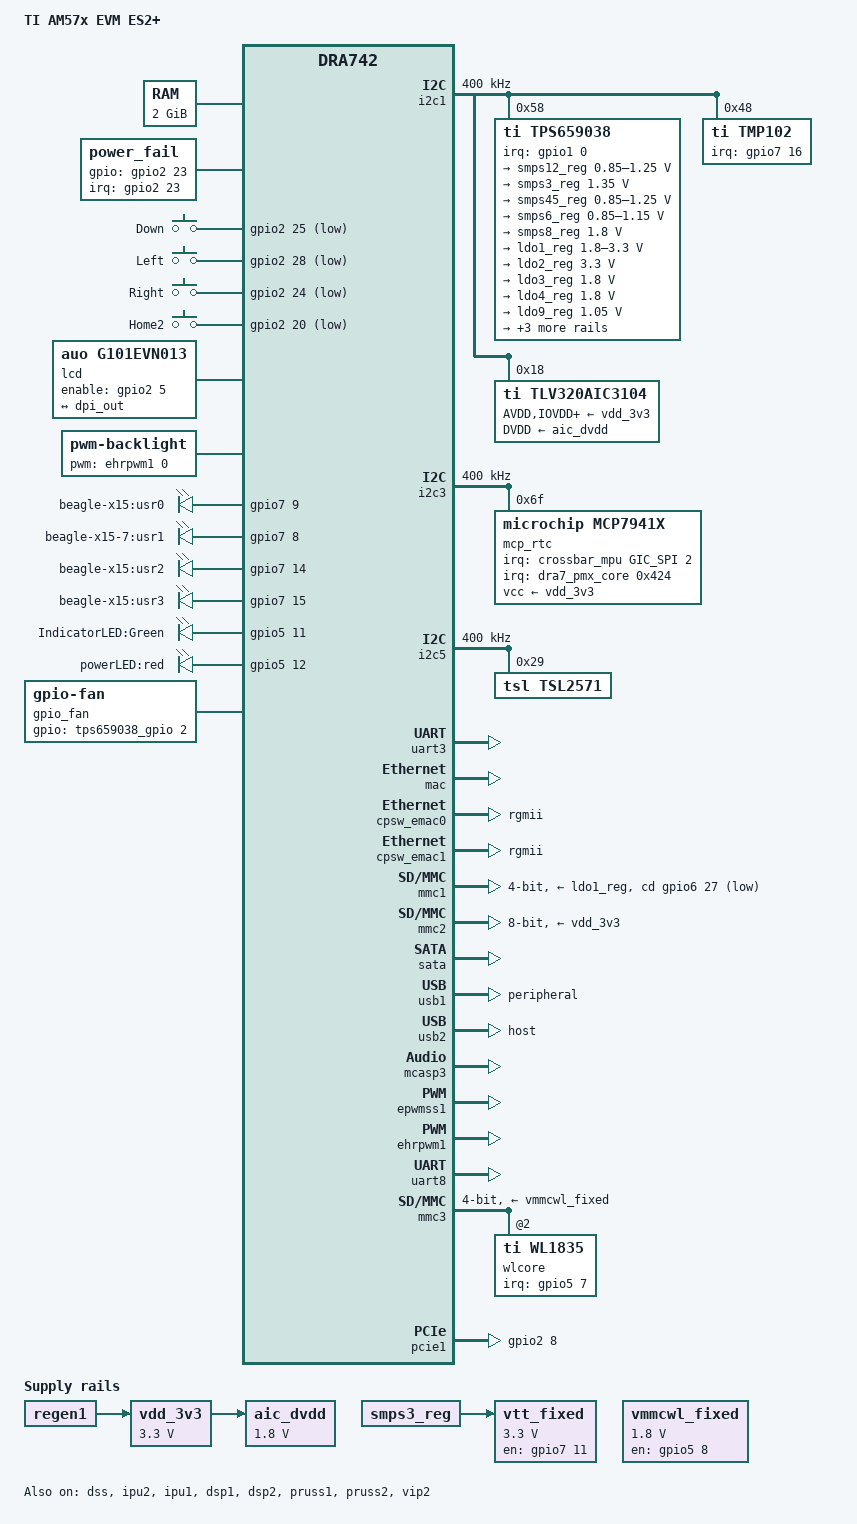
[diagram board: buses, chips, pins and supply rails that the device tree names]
/*
 * Copyright (C) 2015-2016 Texas Instruments Incorporated - http://www.ti.com/
 *
 * This program is free software; you can redistribute it and/or modify
 * it under the terms of the GNU General Public License version 2 as
 * published by the Free Software Foundation.
 */
/dts-v1/;

#include "dra74x.dtsi"
#include <dt-bindings/gpio/gpio.h>
#include <dt-bindings/input/input.h>
#include <dt-bindings/interrupt-controller/irq.h>


/ {
    model = "TI AM57x EVM ES2+";
    compatible = "ti,am572x-beagle-x15", "ti,am5728", "ti,dra742", "ti,dra74", "ti,dra7";

    aliases {
        rtc0 = &mcp_rtc;
        rtc1 = &tps659038_rtc;
        rtc2 = &rtc;
        display0 = &lcd0;

        sound0 = &sound0;
    };

    memory {
        device_type = "memory";
        reg = <0x0 0x80000000 0x0 0x80000000>;
    };


    reserved-memory {
        #address-cells = <2>;
        #size-cells = <2>;
        ranges;

        ipu2_cma_pool: ipu2_cma@95800000 {
            compatible = "shared-dma-pool";
            reg = <0x0 0x95800000 0x0 0x3800000>;
            reusable;
            status = "okay";
        };

        dsp1_cma_pool: dsp1_cma@99000000 {
            compatible = "shared-dma-pool";
            reg = <0x0 0x99000000 0x0 0x4000000>;
            reusable;
            status = "okay";
        };

        ipu1_cma_pool: ipu1_cma@9d000000 {
            compatible = "shared-dma-pool";
            reg = <0x0 0x9d000000 0x0 0x2000000>;
            reusable;
            status = "okay";
        };

        dsp2_cma_pool: dsp2_cma@9f000000 {
            compatible = "shared-dma-pool";
            reg = <0x0 0x9f000000 0x0 0x800000>;
            reusable;
            status = "okay";
        };
    };


	power_fail {
        	compatible = "power_fail";
		label = "power_fail";
		interrupt-parent = <&gpio2>;
		interrupts = <23 IRQ_TYPE_EDGE_FALLING>;
		gpios = <&gpio2 23 GPIO_ACTIVE_HIGH>;
	};


    gpio_keys {
        compatible = "gpio-keys";
        #address-cells = <1>;
        #size-cells = <0>;
        autorepeat;

//        USER1 {
//            label = "Up";
//            linux,code = <KEY_UP>;
//            gpios = <&gpio2 23 GPIO_ACTIVE_LOW>;
//        };

        USER2 {
            label = "Down";
            linux,code = <KEY_DOWN>;
            gpios = <&gpio2 25 GPIO_ACTIVE_LOW>;
        };

        USER3 {
            label = "Left";
            linux,code = <KEY_LEFT>;
            gpios = <&gpio2 28 GPIO_ACTIVE_LOW>;
        };

        USER4 {
            label = "Right";
            linux,code = <KEY_RIGHT>;
            gpios = <&gpio2 24 GPIO_ACTIVE_LOW>;
        };

        USER5 {
            label = "Home2";
            linux,code = <KEY_HOME>;
            gpios = <&gpio2 20 GPIO_ACTIVE_LOW>;
        };
    };

/*
#define IRQ_TYPE_NONE		0
#define IRQ_TYPE_EDGE_RISING	1
#define IRQ_TYPE_EDGE_FALLING	2
#define IRQ_TYPE_EDGE_BOTH	(IRQ_TYPE_EDGE_FALLING | IRQ_TYPE_EDGE_RISING)
#define IRQ_TYPE_LEVEL_HIGH	4
#define IRQ_TYPE_LEVEL_LOW	8

// Bit 0 express polarity 
#define GPIO_ACTIVE_HIGH 0
#define GPIO_ACTIVE_LOW 1
// Bit 1 express single-endedness 
#define GPIO_PUSH_PULL 0
#define GPIO_SINGLE_ENDED 2

*/


    lcd0: display {
        compatible = "auo, g101evn013", "panel-dpi";

        label = "lcd";

        enable-gpios = <&gpio2 5 GPIO_ACTIVE_HIGH>;

        panel-timing {
            clock-frequency = <85000000>;
            hactive = <1280>;
            vactive = <800>;
            hfront-porch = <110>;
            hback-porch = <113>;
            hsync-len = <10>;
            vback-porch = <400>;
            vfront-porch = <367>;
            vsync-len = <25>;
            hsync-active = <0>;
            vsync-active = <0>;
            de-active = <1>;
            pixelclk-active = <1>;
        };

        port {
            lcd_in: endpoint {
                remote-endpoint = <&dpi_out>;
            };
        };
    };



    backlight {
        compatible = "pwm-backlight";
        pwms = <&ehrpwm1 0 50000 0>;

        /* Anything lower than 241 is no longer visible */
        /* brightness-levels = <0 243 245 247 249 251 252 253 255>; */
        // brightness-levels = <0 10 20 30 40 50 60 70 80 90 100 110 120 130 140 150 160 170 180 190 200 210 220 230 240 250 251 252 253 254 255>;
        // default-brightness-level = <18>;
        brightness-levels = < 0 1 2 3 4 5 6 7 8 9 10 11 12 13 14 15 16 17 18 19 20 21 22 23 24 25 26 27 28 29 30 31 32 33 34 35 36 37 38 39 
                                     40 41 42 43 44 45 46 47 48 49 50 51 52 53 54 55 56 57 58 59 60 61 62 63 64 65 66 67 68 69 70 71 72 73 74 75 76 
                                     77 78 79 80 81 82 83 84 85 86 87 88 89 90 91 92 93 94 95 96 97 98 99 100 101 102 103 104 105 106 107 108 109 110
                                     111 112 113 114 115 116 117 118 119 120 121 122 123 124 125 126 127 128 129 130 131 132 133 134 135 136 137 138 
                                     139 140 141 142 143 144 145 146 147 148 149 150 151 152 153 154 155 156 157 158 159 160 161 162 163 164 165 166
                                     167 168 169 170 171 172 173 174 175 176 177 178 179 180 181 182 183 184 185 186 187 188 189 190 191 192 193 194 
                                     195 196 197 198 199 200 201 202 203 204 205 206 207 208 209 210 211 212 213 214 215 216 217 218 219 220 221 222
                                     223 224 225 226 227 228 229 230 231 232 233 234 235 236 237 238 239 240 241 242 243 244 245 246 247 248 249 250 
                                     251 252 253 254 255>;
        default-brightness-level = <253>;

    };

    vmmcwl_fixed: fixedregulator-mmcwl {
        compatible = "regulator-fixed";
        regulator-name = "vmmcwl_fixed";
        regulator-min-microvolt = <1800000>;
        regulator-max-microvolt = <1800000>;
        gpio = <&gpio5 8 GPIO_ACTIVE_HIGH>;
        enable-active-high;
    };

    vdd_3v3: fixedregulator-vdd_3v3 {
        compatible = "regulator-fixed";
        regulator-name = "vdd_3v3";
        vin-supply = <&regen1>;
        regulator-min-microvolt = <3300000>;
        regulator-max-microvolt = <3300000>;
    };

    aic_dvdd: fixedregulator-aic_dvdd {
        compatible = "regulator-fixed";
        regulator-name = "aic_dvdd_fixed";
        vin-supply = <&vdd_3v3>;
        regulator-min-microvolt = <1800000>;
        regulator-max-microvolt = <1800000>;
    };

    vtt_fixed: fixedregulator-vtt {
        /* TPS51200 */
        compatible = "regulator-fixed";
        regulator-name = "vtt_fixed";
        vin-supply = <&smps3_reg>;
        regulator-min-microvolt = <3300000>;
        regulator-max-microvolt = <3300000>;
        regulator-always-on;
        regulator-boot-on;
        enable-active-high;
        gpio = <&gpio7 11 GPIO_ACTIVE_HIGH>;
    };

//Documentation/devicetree/bindings/leds/leds-gpio.txt
    leds {
        compatible = "gpio-leds";
        led@0 {
            label = "beagle-x15:usr0";
            gpios = <&gpio7 9 GPIO_ACTIVE_HIGH>;
            linux,default-trigger = "heartbeat";
            default-state = "off";
        };

        led@1 {
            label = "beagle-x15-7:usr1";
            gpios = <&gpio7 8 GPIO_ACTIVE_HIGH>;
            linux,default-trigger = "cpu0";
            default-state = "off";
        };

        led@2 {
            label = "beagle-x15:usr2";
            gpios = <&gpio7 14 GPIO_ACTIVE_HIGH>;
            linux,default-trigger = "mmc0";
            default-state = "off";
        };

        led@3 {
            label = "beagle-x15:usr3";
            gpios = <&gpio7 15 GPIO_ACTIVE_HIGH>;
            linux,default-trigger = "ide-disk";
            default-state = "off";
        };

        led@4 {
            label = "IndicatorLED:Green";
            gpios = <&gpio5 11 GPIO_ACTIVE_HIGH>;
            linux,default-trigger = "heartbeat";
            default-state = "off";
        };

        led@5 {
            label = "powerLED:red";
            gpios = <&gpio5 12 GPIO_ACTIVE_HIGH>;
            default-state = "off";
        };
    };



    gpio_fan: gpio_fan {
        /* Based on 5v 500mA AFB02505HHB */
        compatible = "gpio-fan";
        gpios =  <&tps659038_gpio 2 GPIO_ACTIVE_HIGH>;
        gpio-fan,speed-map = <0     0>,
                     <13000 1>;
        #cooling-cells = <2>;
    };


    sound0: sound@0 {
        compatible = "simple-audio-card";
        simple-audio-card,name = "BeagleBoard-X15";
        simple-audio-card,widgets =
            "Line", "Line Out",
            "Line", "Line In";
        simple-audio-card,routing =
            "Line Out", "LLOUT",
            "Line Out", "RLOUT",
            "MIC2L",    "Line In",
            "MIC2R",    "Line In";
        simple-audio-card,format = "dsp_b";
        simple-audio-card,bitclock-master = <&sound0_master>;
        simple-audio-card,frame-master = <&sound0_master>;
        simple-audio-card,bitclock-inversion;

        simple-audio-card,cpu {
            sound-dai = <&mcasp3>;
        };

        sound0_master: simple-audio-card,codec {
            sound-dai = <&tlv320aic3104>;
            clocks = <&clkout2_clk>;
        };
    };
};

&dra7_pmx_core {
    gpioint_pins_default: gpioint_pins_default {
        pinctrl-single,pins = <
            0x3474 (PIN_INPUT | MUX_MODE14)    /* ggpio2_3 */
        >;
    };
    leds_pins_default: leds_pins_default {
        pinctrl-single,pins = <
            0x3a8 (PIN_OUTPUT | MUX_MODE14) /* spi1_d1.gpio7_8 */
            0x3ac (PIN_OUTPUT | MUX_MODE14) /* spi1_d0.gpio7_9 */
            0x3c0 (PIN_OUTPUT | MUX_MODE14) /* spi2_sclk.gpio7_14 */
            0x3c4 (PIN_OUTPUT | MUX_MODE14) /* spi2_d1.gpio7_15 */
        >;
    };

    i2c1_pins_default: i2c1_pins_default {
        pinctrl-single,pins = <
            0x400 (PIN_INPUT_PULLUP | MUX_MODE0)    /* i2c1_sda.sda */
            0x404 (PIN_INPUT_PULLUP | MUX_MODE0)    /* i2c1_scl.scl */
        >;
    };

    hdmi_pins: pinmux_hdmi_pins {
        pinctrl-single,pins = <
            0x408 (PIN_INPUT | MUX_MODE1)   /* i2c2_sda.hdmi1_ddc_scl */
            0x40c (PIN_INPUT | MUX_MODE1)   /* i2c2_scl.hdmi1_ddc_sda */
        >;
    };

    i2c3_pins_default: i2c3_pins_default {
        pinctrl-single,pins = <
            0x2a4 (PIN_INPUT| MUX_MODE10)   /* mcasp1_aclkx.i2c3_sda */
            0x2a8 (PIN_INPUT| MUX_MODE10)   /* mcasp1_fsx.i2c3_scl */
        >;
    };

//    i2c5_pins_default: i2c5_pins_default {
//        pinctrl-single,pins = <
//            0x2b4 (PIN_INPUT| MUX_MODE10)   /* mcasp1_axr0.i2c5_sda */
//            0x2b8 (PIN_INPUT| MUX_MODE10)   /* mcasp1_axr1.i2c5_scl */
//        >;
//    };

    uart3_pins_default: uart3_pins_default {
        pinctrl-single,pins = <
            0x3f8 (PIN_INPUT_SLEW | MUX_MODE2) /* uart2_ctsn.uart3_rxd */
            0x3fc (PIN_INPUT_SLEW | MUX_MODE1) /* uart2_rtsn.uart3_txd */
        >;
    };
    mmc1_pins_default: mmc1_pins_default {
        pinctrl-single,pins = <
            DRA7XX_CORE_IOPAD(0x3754, (PIN_INPUT_PULLUP | MUX_MODE0)) /* mmc1_clk.clk */
            DRA7XX_CORE_IOPAD(0x3758, (PIN_INPUT_PULLUP | MUX_MODE0)) /* mmc1_cmd.cmd */
            DRA7XX_CORE_IOPAD(0x375c, (PIN_INPUT_PULLUP | MUX_MODE0)) /* mmc1_dat0.dat0 */
            DRA7XX_CORE_IOPAD(0x3760, (PIN_INPUT_PULLUP | MUX_MODE0)) /* mmc1_dat1.dat1 */
            DRA7XX_CORE_IOPAD(0x3764, (PIN_INPUT_PULLUP | MUX_MODE0)) /* mmc1_dat2.dat2 */
            DRA7XX_CORE_IOPAD(0x3768, (PIN_INPUT_PULLUP | MUX_MODE0)) /* mmc1_dat3.dat3 */
        >;
    };

    mmc1_pins_hs: pinmux_mmc1_hs_pins {
        pinctrl-single,pins = <
            DRA7XX_CORE_IOPAD(0x3754, (PIN_INPUT_PULLUP | MUX_VIRTUAL_MODE11 | MUX_MODE0)) /* mmc1_clk.clk */
            DRA7XX_CORE_IOPAD(0x3758, (PIN_INPUT_PULLUP | MUX_VIRTUAL_MODE11 | MUX_MODE0)) /* mmc1_cmd.cmd */
            DRA7XX_CORE_IOPAD(0x375c, (PIN_INPUT_PULLUP | MUX_VIRTUAL_MODE11 | MUX_MODE0)) /* mmc1_dat0.dat0 */
            DRA7XX_CORE_IOPAD(0x3760, (PIN_INPUT_PULLUP | MUX_VIRTUAL_MODE11 | MUX_MODE0)) /* mmc1_dat1.dat1 */
            DRA7XX_CORE_IOPAD(0x3764, (PIN_INPUT_PULLUP | MUX_VIRTUAL_MODE11 | MUX_MODE0)) /* mmc1_dat2.dat2 */
            DRA7XX_CORE_IOPAD(0x3768, (PIN_INPUT_PULLUP | MUX_VIRTUAL_MODE11 | MUX_MODE0)) /* mmc1_dat3.dat3 */
        >;
    };

    mmc2_pins_default: mmc2_pins_default {
        pinctrl-single,pins = <
            DRA7XX_CORE_IOPAD(0x349c, (PIN_INPUT_PULLUP | MUX_MODE1)) /* gpmc_a23.mmc2_clk */
            DRA7XX_CORE_IOPAD(0x34b0, (PIN_INPUT_PULLUP | MUX_MODE1)) /* gpmc_cs1.mmc2_cmd */
            DRA7XX_CORE_IOPAD(0x34a0, (PIN_INPUT_PULLUP | MUX_MODE1)) /* gpmc_a24.mmc2_dat0 */
            DRA7XX_CORE_IOPAD(0x34a4, (PIN_INPUT_PULLUP | MUX_MODE1)) /* gpmc_a25.mmc2_dat1 */
            DRA7XX_CORE_IOPAD(0x34a8, (PIN_INPUT_PULLUP | MUX_MODE1)) /* gpmc_a26.mmc2_dat2 */
            DRA7XX_CORE_IOPAD(0x34ac, (PIN_INPUT_PULLUP | MUX_MODE1)) /* gpmc_a27.mmc2_dat3 */
            DRA7XX_CORE_IOPAD(0x348c, (PIN_INPUT_PULLUP | MUX_MODE1)) /* gpmc_a19.mmc2_dat4 */
            DRA7XX_CORE_IOPAD(0x3490, (PIN_INPUT_PULLUP | MUX_MODE1)) /* gpmc_a20.mmc2_dat5 */
            DRA7XX_CORE_IOPAD(0x3494, (PIN_INPUT_PULLUP | MUX_MODE1)) /* gpmc_a21.mmc2_dat6 */
            DRA7XX_CORE_IOPAD(0x3498, (PIN_INPUT_PULLUP | MUX_MODE1)) /* gpmc_a22.mmc2_dat7 */
        >;
    };

    mmc2_pins_hs: mmc2_pins_hs {
        pinctrl-single,pins = <
            DRA7XX_CORE_IOPAD(0x349c, (PIN_INPUT_PULLUP | MUX_MODE1)) /* gpmc_a23.mmc2_clk */
            DRA7XX_CORE_IOPAD(0x34b0, (PIN_INPUT_PULLUP | MUX_MODE1)) /* gpmc_cs1.mmc2_cmd */
            DRA7XX_CORE_IOPAD(0x34a0, (PIN_INPUT_PULLUP | MUX_MODE1)) /* gpmc_a24.mmc2_dat0 */
            DRA7XX_CORE_IOPAD(0x34a4, (PIN_INPUT_PULLUP | MUX_MODE1)) /* gpmc_a25.mmc2_dat1 */
            DRA7XX_CORE_IOPAD(0x34a8, (PIN_INPUT_PULLUP | MUX_MODE1)) /* gpmc_a26.mmc2_dat2 */
            DRA7XX_CORE_IOPAD(0x34ac, (PIN_INPUT_PULLUP | MUX_MODE1)) /* gpmc_a27.mmc2_dat3 */
            DRA7XX_CORE_IOPAD(0x348c, (PIN_INPUT_PULLUP | MUX_MODE1)) /* gpmc_a19.mmc2_dat4 */
            DRA7XX_CORE_IOPAD(0x3490, (PIN_INPUT_PULLUP | MUX_MODE1)) /* gpmc_a20.mmc2_dat5 */
            DRA7XX_CORE_IOPAD(0x3494, (PIN_INPUT_PULLUP | MUX_MODE1)) /* gpmc_a21.mmc2_dat6 */
            DRA7XX_CORE_IOPAD(0x3498, (PIN_INPUT_PULLUP | MUX_MODE1)) /* gpmc_a22.mmc2_dat7 */
        >;
    };

    mmc2_pins_ddr_3_3v: pinmux_mmc2_ddr_3_3v_pins {
        pinctrl-single,pins = <
            DRA7XX_CORE_IOPAD(0x349c, (PIN_INPUT_PULLUP | MANUAL_MODE | MUX_MODE1)) /* gpmc_a23.mmc2_clk */
            DRA7XX_CORE_IOPAD(0x34b0, (PIN_INPUT_PULLUP | MANUAL_MODE | MUX_MODE1)) /* gpmc_cs1.mmc2_cmd */
            DRA7XX_CORE_IOPAD(0x34a0, (PIN_INPUT_PULLUP | MANUAL_MODE | MUX_MODE1)) /* gpmc_a24.mmc2_dat0 */
            DRA7XX_CORE_IOPAD(0x34a4, (PIN_INPUT_PULLUP | MANUAL_MODE | MUX_MODE1)) /* gpmc_a25.mmc2_dat1 */
            DRA7XX_CORE_IOPAD(0x34a8, (PIN_INPUT_PULLUP | MANUAL_MODE | MUX_MODE1)) /* gpmc_a26.mmc2_dat2 */
            DRA7XX_CORE_IOPAD(0x34ac, (PIN_INPUT_PULLUP | MANUAL_MODE | MUX_MODE1)) /* gpmc_a27.mmc2_dat3 */
            DRA7XX_CORE_IOPAD(0x348c, (PIN_INPUT_PULLUP | MANUAL_MODE | MUX_MODE1)) /* gpmc_a19.mmc2_dat4 */
            DRA7XX_CORE_IOPAD(0x3490, (PIN_INPUT_PULLUP | MANUAL_MODE | MUX_MODE1)) /* gpmc_a20.mmc2_dat5 */
            DRA7XX_CORE_IOPAD(0x3494, (PIN_INPUT_PULLUP | MANUAL_MODE | MUX_MODE1)) /* gpmc_a21.mmc2_dat6 */
            DRA7XX_CORE_IOPAD(0x3498, (PIN_INPUT_PULLUP | MANUAL_MODE | MUX_MODE1)) /* gpmc_a22.mmc2_dat7 */
        >;
    };
};

&dra7_iodelay_core {
    mmc2_iodelay_ddr_3_3v_conf: mmc2_iodelay_ddr_3_3v_conf {
        pinctrl-single,pins = <
            0x18c (A_DELAY(0) | G_DELAY(120))   /* CFG_GPMC_A19_IN */
            0x190 (A_DELAY(0) | G_DELAY(0))     /* CFG_GPMC_A19_OEN */
            0x194 (A_DELAY(174) | G_DELAY(0))   /* CFG_GPMC_A19_OUT */
            0x1a4 (A_DELAY(265) | G_DELAY(360)) /* CFG_GPMC_A20_IN */
            0x1a8 (A_DELAY(0) | G_DELAY(0))     /* CFG_GPMC_A20_OEN */
            0x1ac (A_DELAY(168) | G_DELAY(0))   /* CFG_GPMC_A20_OUT */
            0x1b0 (A_DELAY(0) | G_DELAY(120))   /* CFG_GPMC_A21_IN */
            0x1b4 (A_DELAY(0) | G_DELAY(0))     /* CFG_GPMC_A21_OEN */
            0x1b8 (A_DELAY(136) | G_DELAY(0))   /* CFG_GPMC_A21_OUT */
            0x1bc (A_DELAY(0) | G_DELAY(120))   /* CFG_GPMC_A22_IN */
            0x1c0 (A_DELAY(0) | G_DELAY(0))     /* CFG_GPMC_A22_OEN */
            0x1c4 (A_DELAY(0) | G_DELAY(0))     /* CFG_GPMC_A22_OUT */
            0x1c8 (A_DELAY(287) | G_DELAY(420)) /* CFG_GPMC_A23_IN */
            0x1d0 (A_DELAY(879) | G_DELAY(0))   /* CFG_GPMC_A23_OUT */
            0x1d4 (A_DELAY(144) | G_DELAY(240)) /* CFG_GPMC_A24_IN */
            0x1d8 (A_DELAY(0) | G_DELAY(0))     /* CFG_GPMC_A24_OEN */
            0x1dc (A_DELAY(0) | G_DELAY(0))     /* CFG_GPMC_A24_OUT */
            0x1e0 (A_DELAY(0) | G_DELAY(0))     /* CFG_GPMC_A25_IN */
            0x1e4 (A_DELAY(0) | G_DELAY(0))     /* CFG_GPMC_A25_OEN */
            0x1e8 (A_DELAY(34) | G_DELAY(0))    /* CFG_GPMC_A25_OUT */
            0x1ec (A_DELAY(0) | G_DELAY(120))   /* CFG_GPMC_A26_IN */
            0x1f0 (A_DELAY(0) | G_DELAY(0))     /* CFG_GPMC_A26_OEN */
            0x1f4 (A_DELAY(120) | G_DELAY(0))   /* CFG_GPMC_A26_OUT */
            0x1f8 (A_DELAY(120) | G_DELAY(180)) /* CFG_GPMC_A27_IN */
            0x1fc (A_DELAY(0) | G_DELAY(0))     /* CFG_GPMC_A27_OEN */
            0x200 (A_DELAY(0) | G_DELAY(0))     /* CFG_GPMC_A27_OUT */
            0x360 (A_DELAY(0) | G_DELAY(0))     /* CFG_GPMC_CS1_IN */
            0x364 (A_DELAY(0) | G_DELAY(0))     /* CFG_GPMC_CS1_OEN */
            0x368 (A_DELAY(11) | G_DELAY(0))    /* CFG_GPMC_CS1_OUT */
        >;
    };
};

&i2c1 {
    status = "okay";
    clock-frequency = <400000>;

    tps659038: tps659038@58 {
        compatible = "ti,tps659038";
        reg = <0x58>;
        interrupt-parent = <&gpio1>;
        interrupts = <0 IRQ_TYPE_LEVEL_LOW>;

        #interrupt-cells = <2>;
        interrupt-controller;

        ti,system-power-controller;

        tps659038_pmic {
            compatible = "ti,tps659038-pmic";

            regulators {
                smps12_reg: smps12 {
                    /* VDD_MPU */
                    regulator-name = "smps12";
                    regulator-min-microvolt = < 850000>;
                    regulator-max-microvolt = <1250000>;
                    regulator-always-on;
                    regulator-boot-on;
                };

                smps3_reg: smps3 {
                    /* VDD_DDR */
                    regulator-name = "smps3";
                    regulator-min-microvolt = <1350000>;
                    regulator-max-microvolt = <1350000>;
                    regulator-always-on;
                    regulator-boot-on;
                };

                smps45_reg: smps45 {
                    /* VDD_DSPEVE, VDD_IVA, VDD_GPU */
                    regulator-name = "smps45";
                    regulator-min-microvolt = < 850000>;
                    regulator-max-microvolt = <1250000>;
                    regulator-always-on;
                    regulator-boot-on;
                };

                smps6_reg: smps6 {
                    /* VDD_CORE */
                    regulator-name = "smps6";
                    regulator-min-microvolt = <850000>;
                    regulator-max-microvolt = <1150000>;
                    regulator-always-on;
                    regulator-boot-on;
                };

                /* SMPS7 unused */

                smps8_reg: smps8 {
                    /* VDD_1V8 */
                    regulator-name = "smps8";
                    regulator-min-microvolt = <1800000>;
                    regulator-max-microvolt = <1800000>;
                    regulator-always-on;
                    regulator-boot-on;
                };

                /* SMPS9 unused */

                ldo1_reg: ldo1 {
                    /* VDD_SD / VDDSHV8  */
                    regulator-name = "ldo1";
                    regulator-min-microvolt = <1800000>;
                    regulator-max-microvolt = <3300000>;
                    regulator-boot-on;
                    regulator-always-on;
                };

                ldo2_reg: ldo2 {
                    /* VDD_SHV5 */
                    regulator-name = "ldo2";
                    regulator-min-microvolt = <3300000>;
                    regulator-max-microvolt = <3300000>;
                    regulator-always-on;
                    regulator-boot-on;
                };

                ldo3_reg: ldo3 {
                    /* VDDA_1V8_PHYA */
                    regulator-name = "ldo3";
                    regulator-min-microvolt = <1800000>;
                    regulator-max-microvolt = <1800000>;
                    regulator-always-on;
                    regulator-boot-on;
                };

                ldo4_reg: ldo4 {
                    /* VDDA_1V8_PHYB */
                    regulator-name = "ldo4";
                    regulator-min-microvolt = <1800000>;
                    regulator-max-microvolt = <1800000>;
                    regulator-always-on;
                    regulator-boot-on;
                };

                ldo9_reg: ldo9 {
                    /* VDD_RTC */
                    regulator-name = "ldo9";
                    regulator-min-microvolt = <1050000>;
                    regulator-max-microvolt = <1050000>;
                    regulator-always-on;
                    regulator-boot-on;
                };

                ldoln_reg: ldoln {
                    /* VDDA_1V8_PLL */
                    regulator-name = "ldoln";
                    regulator-min-microvolt = <1800000>;
                    regulator-max-microvolt = <1800000>;
                    regulator-always-on;
                    regulator-boot-on;
                };

                ldousb_reg: ldousb {
                    /* VDDA_3V_USB: VDDA_USBHS33 */
                    regulator-name = "ldousb";
                    regulator-min-microvolt = <3300000>;
                    regulator-max-microvolt = <3300000>;
                    regulator-boot-on;
                };

                regen1: regen1 {
                    /* VDD_3V3_ON */
                    regulator-name = "regen1";
                    regulator-boot-on;
                    regulator-always-on;
                };
            };
        };

        tps659038_rtc: tps659038_rtc {
            compatible = "ti,palmas-rtc";
            interrupt-parent = <&tps659038>;
            interrupts = <8 IRQ_TYPE_EDGE_FALLING>;
            wakeup-source;
        };

        tps659038_pwr_button: tps659038_pwr_button {
            compatible = "ti,palmas-pwrbutton";
            interrupt-parent = <&tps659038>;
            interrupts = <1 IRQ_TYPE_EDGE_FALLING>;
            wakeup-source;
            ti,palmas-long-press-seconds = <12>;
        };

        tps659038_gpio: tps659038_gpio {
            compatible = "ti,palmas-gpio";
            gpio-controller;
            #gpio-cells = <2>;
        };

        extcon_usb2: tps659038_usb {
            compatible = "ti,palmas-usb-vid";
            ti,enable-vbus-detection;
            vbus-gpio = <&gpio4 21 GPIO_ACTIVE_HIGH>;
        };

    };

    tmp102: tmp102@48 {
        compatible = "ti,tmp102";
        reg = <0x48>;
        interrupt-parent = <&gpio7>;
        interrupts = <16 IRQ_TYPE_LEVEL_LOW>;
        #thermal-sensor-cells = <1>;
    };

    tlv320aic3104: tlv320aic3104@18 {
        #sound-dai-cells = <0>;
        compatible = "ti,tlv320aic3104";
        reg = <0x18>;

        assigned-clocks = <&clkoutmux2_clk_mux>;
        assigned-clock-parents = <&sys_clk2_dclk_div>;

        adc-settle-ms = <40>;
        AVDD-supply = <&vdd_3v3>;
        IOVDD-supply = <&vdd_3v3>;
        DRVDD-supply = <&vdd_3v3>;
        DVDD-supply = <&aic_dvdd>;

        status = "okay";
    };
};


&i2c3 {
    status = "okay";
    clock-frequency = <400000>;

    mcp_rtc: rtc@6f {
        compatible = "microchip,mcp7941x";
        reg = <0x6f>;
        interrupts-extended = <&crossbar_mpu GIC_SPI 2 IRQ_TYPE_EDGE_RISING>,
                      <&dra7_pmx_core 0x424>;
        interrupt-names = "irq", "wakeup";

        vcc-supply = <&vdd_3v3>;
        wakeup-source;
    };
};

&i2c5 {
    status = "okay";
    clock-frequency = <400000>;    
    tsl2571@29 {
        compatible = "tsl,tsl2571";
        reg = <0x29>;
    };
};




&gpio7 {
    ti,no-reset-on-init;
    ti,no-idle-on-init;
};

&uart3 {
    status = "okay";
    interrupts-extended = <&crossbar_mpu GIC_SPI 69 IRQ_TYPE_LEVEL_HIGH>,
                  <&dra7_pmx_core 0x3f8>;
};

&mac {
    status = "okay";
    dual_emac;
};

&cpsw_emac0 {
    phy_id = <&davinci_mdio>, <3>;
    phy-mode = "rgmii";
    dual_emac_res_vlan = <1>;
};

&cpsw_emac1 {
    phy_id = <&davinci_mdio>, <2>;
    phy-mode = "rgmii";
    dual_emac_res_vlan = <2>;
};

&mmc1 {
    status = "okay";

    vmmc-supply = <&ldo1_reg>;
    bus-width = <4>;
    cd-gpios = <&gpio6 27 GPIO_ACTIVE_LOW>; /* gpio 219 */
};

&mmc2 {
    status = "okay";

    vmmc-supply = <&vdd_3v3>;
    bus-width = <8>;
    ti,non-removable;
    cap-mmc-dual-data-rate;
};

&sata {
    status = "okay";
};

&usb2_phy1 {
    phy-supply = <&ldousb_reg>;
};

&usb2_phy2 {
    phy-supply = <&ldousb_reg>;
};

&usb1 {
    dr_mode = "peripheral";
};

&omap_dwc3_2 {
    extcon = <&extcon_usb2>;
};

&usb2 {
    /*
     * Stand alone usage is peripheral only.
     * However, with some resistor modifications
     * this port can be used via expansion connectors
     * as "host" or "dual-role". If so, provide
     * the necessary dr_mode override in the expansion
     * board's DT.
     * dr_mode = "peripheral"; "host"; "dual-role"
     */
    dr_mode = "host";
};

&cpu_trips {
    cpu_alert1: cpu_alert1 {
        temperature = <50000>; /* millicelsius */
        hysteresis = <2000>; /* millicelsius */
        type = "active";
    };
};

&cpu_cooling_maps {
    map1 {
        trip = <&cpu_alert1>;
        cooling-device = <&gpio_fan THERMAL_NO_LIMIT THERMAL_NO_LIMIT>;
    };
};

&thermal_zones {
    board_thermal: board_thermal {
        polling-delay-passive = <1250>; /* milliseconds */
        polling-delay = <1500>; /* milliseconds */

                /* sensor       ID */
        thermal-sensors = <&tmp102     0>;

        board_trips: trips {
            board_alert0: board_alert {
                temperature = <40000>; /* millicelsius */
                hysteresis = <2000>; /* millicelsius */
                type = "active";
            };

            board_crit: board_crit {
                temperature = <105000>; /* millicelsius */
                hysteresis = <0>; /* millicelsius */
                type = "critical";
            };
        };

        board_cooling_maps: cooling-maps {
            map0 {
                trip = <&board_alert0>;
                cooling-device =
                  <&gpio_fan THERMAL_NO_LIMIT THERMAL_NO_LIMIT>;
            };
        };
       };
};


&dss {
    status = "ok";

    vdda_video-supply = <&ldoln_reg>;
};


&mcasp3 {
    #sound-dai-cells = <0>;
    assigned-clocks = <&mcasp3_ahclkx_mux>;
    assigned-clock-parents = <&sys_clkin2>;
    status = "okay";

    op-mode = <0>;  /* MCASP_IIS_MODE */
    tdm-slots = <2>;
    /* 4 serializers */
    serial-dir = <  /* 0: INACTIVE, 1: TX, 2: RX */
        1 2 0 0
    >;
    tx-num-evt = <32>;
    rx-num-evt = <32>;
};

&mailbox3 {
    status = "okay";
    mbox_pru1_0: mbox_pru1_0 {
        status = "okay";
    };
    mbox_pru1_1: mbox_pru1_1 {
        status = "okay";
    };
};

&mailbox4 {
    status = "okay";
    mbox_pru2_0: mbox_pru2_0 {
        status = "okay";
    };
    mbox_pru2_1: mbox_pru2_1 {
        status = "okay";
    };
};

&mailbox5 {
    status = "okay";
    mbox_ipu1_ipc3x: mbox_ipu1_ipc3x {
        status = "okay";
    };
    mbox_dsp1_ipc3x: mbox_dsp1_ipc3x {
        status = "okay";
    };
};

&mailbox6 {
    status = "okay";
    mbox_ipu2_ipc3x: mbox_ipu2_ipc3x {
        status = "okay";
    };
    mbox_dsp2_ipc3x: mbox_dsp2_ipc3x {
        status = "okay";
    };
};

&mmu0_dsp1 {
    status = "okay";
};

&mmu1_dsp1 {
    status = "okay";
};

&mmu0_dsp2 {
    status = "okay";
};

&mmu1_dsp2 {
    status = "okay";
};

&mmu_ipu1 {
    status = "okay";
};

&mmu_ipu2 {
    status = "okay";
};

&ipu2 {
    status = "okay";
    memory-region = <&ipu2_cma_pool>;
    mboxes = <&mailbox6 &mbox_ipu2_ipc3x>;
    timers = <&timer3>;
    watchdog-timers = <&timer4>, <&timer9>;
};

&ipu1 {
    status = "okay";
    memory-region = <&ipu1_cma_pool>;
    mboxes = <&mailbox5 &mbox_ipu1_ipc3x>;
    timers = <&timer11>;
};

&dsp1 {
    status = "okay";
    memory-region = <&dsp1_cma_pool>;
    mboxes = <&mailbox5 &mbox_dsp1_ipc3x>;
    timers = <&timer5>;
};

&dsp2 {
    status = "okay";
    memory-region = <&dsp2_cma_pool>;
    mboxes = <&mailbox6 &mbox_dsp2_ipc3x>;
    timers = <&timer6>;
};

&pruss1 {
    status = "okay";
    pru1_0: pru0@4b234000 {
        mboxes = <&mailbox3 &mbox_pru1_0>;
        status = "okay";
    };

    pru1_1: pru1@4b238000 {
        mboxes = <&mailbox3 &mbox_pru1_1>;
        status = "okay";
    };
};

&pruss2 {
    status = "okay";
    pru2_0: pru0@4b2b4000 {
        mboxes = <&mailbox4 &mbox_pru2_0>;
        status = "okay";
    };

    pru2_1: pru1@4b2b8000 {
        mboxes = <&mailbox4 &mbox_pru2_1>;
        status = "okay";
    };
};

&dss {
    ports {
        #address-cells = <1>;
        #size-cells = <0>;

        port {
            reg = <0>;

            dpi_out: endpoint {
                remote-endpoint = <&lcd_in>;
                data-lines = <24>;
            };
        };
    };
};

&epwmss1 {
    status = "okay";
};

&ehrpwm1 {
    status = "okay";
};


&uart8 {
    status = "okay";
};

&mmc3 {
    status = "okay";
    vmmc-supply = <&vmmcwl_fixed>;
    bus-width = <4>;
    pinctrl-names = "default";
    cap-power-off-card;
    keep-power-in-suspend;
    ti,non-removable;

    #address-cells = <1>;
    #size-cells = <0>;
    wlcore: wlcore@0 {
        compatible = "ti,wl1835";
        reg = <2>;
        interrupt-parent = <&gpio5>;
        interrupts = <7 IRQ_TYPE_LEVEL_HIGH>;
    };
};


&pcie1 {
    gpios = <&gpio2 8 GPIO_ACTIVE_LOW>;
};


&oppdm_mpu {
    vdd-supply = <&smps12_reg>;
};

&oppdm_dspeve {
    vdd-supply = <&smps45_reg>;
};

&oppdm_gpu {
    vdd-supply = <&smps45_reg>;
};

&oppdm_ivahd {
    vdd-supply = <&smps45_reg>;
};

&oppdm_core {
    vdd-supply = <&smps6_reg>;
};

&mmc1 {
    pinctrl-names = "default", "hs";
    pinctrl-0 = <&mmc1_pins_default>;
    pinctrl-1 = <&mmc1_pins_hs>;

    vmmc-supply = <&ldo1_reg>;
    max-frequency = <96000000>;
    /delete-property/ sd-uhs-sdr104;
    /delete-property/ sd-uhs-sdr50;
    /delete-property/ sd-uhs-ddr50;
    /delete-property/ sd-uhs-sdr25;
    /delete-property/ sd-uhs-sdr12;
};

&mmc2 {
    pinctrl-names = "default", "hs", "ddr_1_8v";
    pinctrl-0 = <&mmc2_pins_default>;
    pinctrl-1 = <&mmc2_pins_hs>;
    pinctrl-2 = <&mmc2_pins_ddr_3_3v &mmc2_iodelay_ddr_3_3v_conf>;

    max-frequency = <96000000>;
    /delete-property/ mmc-hs200-1_8v;
};

&vip2 {
    status = "okay";
};

&cpu_alert0 {
    temperature = <100000>; /* milliCelsius */
};

&cpu_crit {
    temperature = <105000>; /* milliCelsius */
};

&gpu_crit {
    temperature = <105000>; /* milliCelsius */
};

&core_crit {
    temperature = <105000>; /* milliCelsius */
};

&dspeve_crit {
    temperature = <105000>; /* milliCelsius */
};

&iva_crit {
    temperature = <105000>; /* milliCelsius */
};

